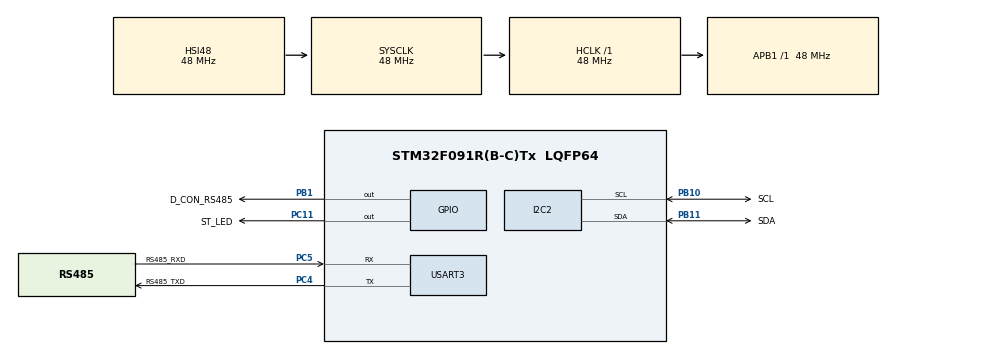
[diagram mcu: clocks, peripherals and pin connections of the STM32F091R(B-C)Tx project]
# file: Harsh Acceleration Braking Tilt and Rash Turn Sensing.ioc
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Dma.I2C2_RX.2.Direction=DMA_PERIPH_TO_MEMORY
Dma.I2C2_RX.2.Instance=DMA1_Channel5
Dma.I2C2_RX.2.MemDataAlignment=DMA_MDATAALIGN_BYTE
Dma.I2C2_RX.2.MemInc=DMA_MINC_ENABLE
Dma.I2C2_RX.2.Mode=DMA_NORMAL
Dma.I2C2_RX.2.PeriphDataAlignment=DMA_PDATAALIGN_BYTE
Dma.I2C2_RX.2.PeriphInc=DMA_PINC_DISABLE
Dma.I2C2_RX.2.Priority=DMA_PRIORITY_LOW
Dma.I2C2_TX.3.Direction=DMA_MEMORY_TO_PERIPH
Dma.I2C2_TX.3.Instance=DMA2_Channel1
Dma.I2C2_TX.3.MemDataAlignment=DMA_MDATAALIGN_BYTE
Dma.I2C2_TX.3.MemInc=DMA_MINC_ENABLE
Dma.I2C2_TX.3.Mode=DMA_NORMAL
Dma.I2C2_TX.3.PeriphDataAlignment=DMA_PDATAALIGN_BYTE
Dma.I2C2_TX.3.PeriphInc=DMA_PINC_DISABLE
Dma.I2C2_TX.3.Priority=DMA_PRIORITY_LOW
Dma.Request0=USART3_RX
Dma.Request1=USART3_TX
Dma.Request2=I2C2_RX
Dma.Request3=I2C2_TX
Dma.USART3_RX.0.Direction=DMA_PERIPH_TO_MEMORY
Dma.USART3_RX.0.Instance=DMA1_Channel1
Dma.USART3_RX.0.MemDataAlignment=DMA_MDATAALIGN_BYTE
Dma.USART3_RX.0.MemInc=DMA_MINC_ENABLE
Dma.USART3_RX.0.Mode=DMA_CIRCULAR
Dma.USART3_RX.0.PeriphDataAlignment=DMA_PDATAALIGN_BYTE
Dma.USART3_RX.0.PeriphInc=DMA_PINC_DISABLE
Dma.USART3_RX.0.Priority=DMA_PRIORITY_LOW
Dma.USART3_TX.1.Direction=DMA_MEMORY_TO_PERIPH
Dma.USART3_TX.1.Instance=DMA1_Channel2
Dma.USART3_TX.1.MemDataAlignment=DMA_MDATAALIGN_BYTE
Dma.USART3_TX.1.MemInc=DMA_MINC_ENABLE
Dma.USART3_TX.1.Mode=DMA_NORMAL
Dma.USART3_TX.1.PeriphDataAlignment=DMA_PDATAALIGN_BYTE
Dma.USART3_TX.1.PeriphInc=DMA_PINC_DISABLE
Dma.USART3_TX.1.Priority=DMA_PRIORITY_LOW
I2C2.GeneralCallMode=I2C_GENERALCALL_ENABLE
I2C2.Timing=0x20303E5D
Mcu.Family=STM32F0
Mcu.Name=STM32F091R(B-C)Tx
Mcu.Package=LQFP64
NVIC.DMA1_Ch1_IRQn=true\:0\:0\:false\:false\:true\:false\:true
NVIC.DMA1_Ch2_3_DMA2_Ch1_2_IRQn=true\:0\:0\:false\:false\:true\:false\:true
NVIC.DMA1_Ch4_7_DMA2_Ch3_5_IRQn=true\:0\:0\:false\:false\:true\:false\:true
NVIC.I2C2_IRQn=true\:0\:0\:false\:false\:true\:true\:true
NVIC.TIM6_DAC_IRQn=true\:0\:0\:false\:false\:true\:true\:true
NVIC.USART3_8_IRQn=true\:0\:0\:false\:false\:true\:true\:true
PA13.Mode=Serial_Wire
PA13.Signal=SYS_SWDIO
PA14.Mode=Serial_Wire
PA14.Signal=SYS_SWCLK
PB1.GPIO_Label=D_CON_RS485
PB1.Signal=GPIO_Output
PB10.GPIO_Label=SCL
PB10.Mode=I2C
PB10.Signal=I2C2_SCL
PB11.GPIO_Label=SDA
PB11.Mode=I2C
PB11.Signal=I2C2_SDA
PC11.GPIO_Label=ST_LED
PC11.Signal=GPIO_Output
PC4.GPIO_Label=RS485_TXD
PC4.Mode=Asynchronous
PC4.Signal=USART3_TX
PC5.GPIO_Label=RS485_RXD
PC5.Mode=Asynchronous
PC5.Signal=USART3_RX
ProjectManager.HeapSize=0x200
ProjectManager.StackSize=0x400
ProjectManager.TargetToolchain=TrueSTUDIO
RCC.AHBFreq_Value=48000000
RCC.APB1Freq_Value=48000000
RCC.APB1TimFreq_Value=48000000
RCC.HCLKFreq_Value=48000000
RCC.SYSCLKFreq_VALUE=48000000
RCC.SYSCLKSource=RCC_SYSCLKSOURCE_HSI48
TIM6.AutoReloadPreload=TIM_AUTORELOAD_PRELOAD_DISABLE
TIM6.Period=200
TIM6.Prescaler=47999
USART3.VirtualMode-Asynchronous=VM_ASYNC
VP_TIM6_VS_ClockSourceINT.Mode=Enable_Timer
board=custom

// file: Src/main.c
/* USER CODE BEGIN Header */
/**
 ******************************************************************************
 * @file           : main.c
 * @brief          : Main program body
 ******************************************************************************
 * @attention
 *
 * <h2><center>&copy; Copyright (c) 2020 STMicroelectronics.
 * All rights reserved.</center></h2>
 *
 * This software component is licensed by ST under BSD 3-Clause license,
 * the "License"; You may not use this file except in compliance with the
 * License. You may obtain a copy of the License at:
 *                        opensource.org/licenses/BSD-3-Clause
 *
 ******************************************************************************
 */
/* USER CODE END Header */

#include "main.h"
#include "dma.h"
#include "i2c.h"
#include "tim.h"
#include "usart.h"
#include "gpio.h"

/* USER CODE BEGIN Includes */
#include "status.h"
/* USER CODE END Includes */

/* USER CODE BEGIN PV */

uint32_t last_tick_value=0;
volatile uint8_t memtx=0,memrx=0,uarttx_req=0,uartrx_req=1,instruction_length=0, i=0,output_enable=1,tilt_req=1,sleep_dur=5,sleep_dur_device=5;

float total_error_xl_mg[3]={0};
int8_t total_error_int_xl[3]={0};

enum  Sign sign_of_acceleration=SIGN_NOT_SET,sign_of_gravity=SIGN_NOT_SET,sign_of_side_axes=SIGN_NOT_SET;
enum AXES gravity_axes=AXES_NOT_SET,forward_axes=AXES_NOT_SET,side_axes=AXES_NOT_SET;
enum Function_Exicution forward_axes_wakeup_init_function_status=NOT_EXICUTED,acceleration_wakeup_init_function_status=NOT_EXICUTED;
enum Wakeup_Device_Mode device_mode,wakeup_mode;
enum Referance_Tilt_function current_referance_tilt_function=NO_TILT_FUNCTION;
enum Acceleration_Brake harsh_accel_brake_function_wakeup_mode=HARSH_ACCELERATION;
uint16_t harsh_accel_brake_function_wakeup_threshold_optimized;
uint8_t memrx_last=0,memtx_last=0,who_am_i=0,tilt_threshold=180,rtt=125;
volatile char instruction_final[25]={0},instruction_raw[25]={0},c;
char out_string[200]={0};
float mg_per_LSB,mdps_per_LSB,rtt_optimized;

double referance_tilt_angle[3]={0},referance_tilt_angle_Optimized[3]={0};
uint16_t odr_xl_value,hat=1500,hbt=1500,harsh_accel_brake_function_wakeup_threshold=1500;
int16_t xl_axes_ref[3]={0},g_axes_ref[3]={0};

/* USER CODE END PV */

void SystemClock_Config(void);

int main(void)
{
  /* USER CODE BEGIN 1 */

	enum Acceleration_Brake acceleration_brake_status;
	enum Rash_Turn rash_turn_status;
	enum Tilt tilt_status;
  /* USER CODE END 1 */

  /* MCU Configuration--------------------------------------------------------*/

  /* Reset of all peripherals, Initializes the Flash interface and the Systick. */
  HAL_Init();

  /* Configure the system clock */
  SystemClock_Config();

  /* Initialize all configured peripherals */
  MX_GPIO_Init();
  MX_DMA_Init();
  MX_I2C2_Init();
  MX_USART3_UART_Init();
  MX_TIM6_Init();
  /* USER CODE BEGIN 2 */

	//USER_activity_inactivity_init();
	USER_IMU_Init();
	USER_Wakeup_Init();
	USER_Referance_Tilt_Calculation();
	USER_Forward_axes_and_Tilt_Accelerometer_Init();
	USER_Rash_Turn_Gyroscope_Init();

	if(HAL_TIM_Base_Start_IT(&htim6)!=HAL_OK)
	{
		Error_Handler();
	}

	USER_UART_DMA_start();

	rtt_optimized=rtt;
  /* USER CODE END 2 */

  /* Infinite loop */
  /* USER CODE BEGIN WHILE */
	while (1)
	{

		USER_Instruction_Sense();

		if (output_enable)
		{

			output_enable = 0;

			if(device_mode==SLEEP)
			{
				device_mode=USER_Wakeup_Detection();
			}

			if(gravity_axes	!=	AXES_NOT_SET	&&	forward_axes_wakeup_init_function_status==NOT_EXICUTED	&&	device_mode==FORWARD_AXIS)
			{
				USER_forward_axes_sense_Wakeup_Init();
			}

			if(device_mode==FORWARD_AXIS)
			{
				tilt_status	=	USER_Tilt_Calculation();
				rash_turn_status=USER_Rash_Turn_Detection();
				USER_Forward_axes_Find();
			}

			if(forward_axes!= AXES_NOT_SET	&&	sign_of_acceleration!=SIGN_NOT_SET &&	acceleration_wakeup_init_function_status==NOT_EXICUTED	&&	device_mode==ACCELERATION)
			{
				USER_Referance_Tilt_Calculation();
				USER_Acceleration_Wakeup_Init();
			}

			if(device_mode==ACCELERATION)
			{
				tilt_status	=	USER_Tilt_Calculation();
				rash_turn_status=USER_Rash_Turn_Detection();
				acceleration_brake_status=USER_Harsh_Acceleration_Harsh_brake_Find();
			}

			USER_Instruction_CHECK();

		}
    /* USER CODE END WHILE */

	}
}

void SystemClock_Config(void)
{
  RCC_OscInitTypeDef RCC_OscInitStruct = {0};
  RCC_ClkInitTypeDef RCC_ClkInitStruct = {0};
  RCC_PeriphCLKInitTypeDef PeriphClkInit = {0};

  /** Initializes the CPU, AHB and APB busses clocks
  */
  RCC_OscInitStruct.OscillatorType = RCC_OSCILLATORTYPE_HSI48;
  RCC_OscInitStruct.HSI48State = RCC_HSI48_ON;
  RCC_OscInitStruct.PLL.PLLState = RCC_PLL_NONE;
  if (HAL_RCC_OscConfig(&RCC_OscInitStruct) != HAL_OK)
  {
    Error_Handler();
  }
  /** Initializes the CPU, AHB and APB busses clocks
  */
  RCC_ClkInitStruct.ClockType = RCC_CLOCKTYPE_HCLK|RCC_CLOCKTYPE_SYSCLK
                              |RCC_CLOCKTYPE_PCLK1;
  RCC_ClkInitStruct.SYSCLKSource = RCC_SYSCLKSOURCE_HSI48;
  RCC_ClkInitStruct.AHBCLKDivider = RCC_SYSCLK_DIV1;
  RCC_ClkInitStruct.APB1CLKDivider = RCC_HCLK_DIV1;

  if (HAL_RCC_ClockConfig(&RCC_ClkInitStruct, FLASH_LATENCY_1) != HAL_OK)
  {
    Error_Handler();
  }
  PeriphClkInit.PeriphClockSelection = RCC_PERIPHCLK_USART3;
  PeriphClkInit.Usart3ClockSelection = RCC_USART3CLKSOURCE_PCLK1;
  if (HAL_RCCEx_PeriphCLKConfig(&PeriphClkInit) != HAL_OK)
  {
    Error_Handler();
  }
}

/* USER CODE BEGIN 4 */
void HAL_I2C_MemTxCpltCallback(I2C_HandleTypeDef *hi2c)
{
	memtx=1;
}

void HAL_I2C_MemRxCpltCallback(I2C_HandleTypeDef *hi2c)
{

	memrx=1;

}
void HAL_I2C_ErrorCallback(I2C_HandleTypeDef *hi2c)
{
	while(1)
	{
		HAL_GPIO_TogglePin(ST_LED_GPIO_Port,ST_LED_Pin);
		HAL_Delay(200);
	}
}
void HAL_UART_TxCpltCallback(UART_HandleTypeDef *huart)
{

	uarttx_req=0;

}
void HAL_UART_RxCpltCallback(UART_HandleTypeDef *huart)
{
	uartrx_req=0;
}
void HAL_TIM_PeriodElapsedCallback(TIM_HandleTypeDef *htim)
{

	if(htim->Instance == TIM6)
	{
		//HAL_GPIO_TogglePin(ST_LED_GPIO_Port,ST_LED_Pin);
		memset(instruction_final,0,25);
		instruction_length=i>strlen(instruction_raw)?i:strlen(instruction_raw);
		strncpy(instruction_final,strupr(instruction_raw),instruction_length);
		tilt_req=1;
		memset(instruction_raw,0,25);
		i=0;
		output_enable=1;

	}

}

/* USER CODE END 4 */

void Error_Handler(void)
{
  /* USER CODE BEGIN Error_Handler_Debug */
	/* User can add his own implementation to report the HAL error return state */
	while(1)
	{
		HAL_GPIO_TogglePin(ST_LED_GPIO_Port,ST_LED_Pin);
		HAL_Delay(200);
	}
  /* USER CODE END Error_Handler_Debug */
}

/************************ (C) COPYRIGHT STMicroelectronics *****END OF FILE****/
